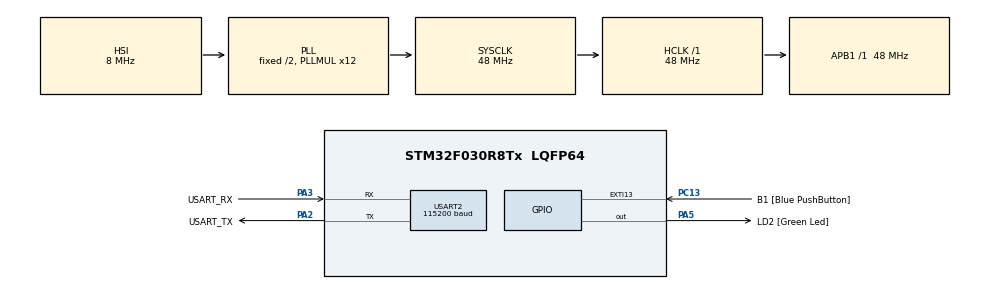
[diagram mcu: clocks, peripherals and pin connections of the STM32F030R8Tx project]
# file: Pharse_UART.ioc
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Mcu.Family=STM32F0
Mcu.Name=STM32F030R8Tx
Mcu.Package=LQFP64
NVIC.USART2_IRQn=true\:0\:0\:false\:false\:true\:true\:true\:true
PA13.GPIO_Label=TMS
PA13.Mode=Serial_Wire
PA13.Signal=SYS_SWDIO
PA14.GPIO_Label=TCK
PA14.Mode=Serial_Wire
PA14.Signal=SYS_SWCLK
PA2.GPIO_Label=USART_TX
PA2.GPIO_Mode=GPIO_MODE_AF_PP
PA2.GPIO_PuPd=GPIO_NOPULL
PA2.GPIO_Speed=GPIO_SPEED_FREQ_LOW
PA2.Mode=Asynchronous
PA2.Signal=USART2_TX
PA3.GPIO_Label=USART_RX
PA3.GPIO_Mode=GPIO_MODE_AF_PP
PA3.GPIO_PuPd=GPIO_NOPULL
PA3.GPIO_Speed=GPIO_SPEED_FREQ_LOW
PA3.Mode=Asynchronous
PA3.Signal=USART2_RX
PA5.GPIO_Label=LD2 [Green Led]
PA5.GPIO_Mode=GPIO_MODE_OUTPUT_PP
PA5.GPIO_PuPd=GPIO_NOPULL
PA5.GPIO_Speed=GPIO_SPEED_FREQ_LOW
PA5.Signal=GPIO_Output
PC13.GPIO_Label=B1 [Blue PushButton]
PC13.GPIO_ModeDefaultEXTI=GPIO_MODE_IT_FALLING
PC13.Signal=GPXTI13
PC14-OSC32_IN.Mode=LSE-External-Oscillator
PC14-OSC32_IN.Signal=RCC_OSC32_IN
PC15-OSC32_OUT.Mode=LSE-External-Oscillator
PC15-OSC32_OUT.Signal=RCC_OSC32_OUT
PF0-OSC_IN.Mode=HSE-External-Clock-Source
PF0-OSC_IN.Signal=RCC_OSC_IN
PF1-OSC_OUT.Signal=RCC_OSC_OUT
ProjectManager.HeapSize=0x200
ProjectManager.StackSize=0x400
ProjectManager.TargetToolchain=CMake
RCC.AHBFreq_Value=48000000
RCC.APB1Freq_Value=48000000
RCC.APB1TimFreq_Value=48000000
RCC.HCLKFreq_Value=48000000
RCC.PLLMUL=RCC_PLL_MUL12
RCC.RTCClockSelection=RCC_RTCCLKSOURCE_LSE
RCC.SYSCLKFreq_VALUE=48000000
RCC.SYSCLKSource=RCC_SYSCLKSOURCE_PLLCLK
RTC.Date=23
RTC.Hours=10
RTC.Minutes=35
RTC.Month=RTC_MONTH_FEBRUARY
USART2.BaudRate=115200
USART2.VirtualMode-Asynchronous=VM_ASYNC
VP_RTC_VS_RTC_Activate.Mode=RTC_Enabled
VP_RTC_VS_RTC_Calendar.Mode=RTC_Calendar
board=NUCLEO-F030R8

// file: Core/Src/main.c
/* USER CODE BEGIN Header */
/**
 ******************************************************************************
 * @file           : main.c
 * @brief          : Main program body
 ******************************************************************************
 * @attention
 *
 * Copyright (c) 2026 STMicroelectronics.
 * All rights reserved.
 *
 * This software is licensed under terms that can be found in the LICENSE file
 * in the root directory of this software component.
 * If no LICENSE file comes with this software, it is provided AS-IS.
 *
 ******************************************************************************
 */
/* USER CODE END Header */
#include "main.h"
#include "rtc.h"
#include "stm32f030x8.h"
#include "stm32f0xx_hal_rtc.h"
#include "usart.h"
#include "gpio.h"

/* USER CODE BEGIN Includes */
#include "ring_buffer.h"
#include "string.h"
#include "utilities.h"
#include <stdint.h>
#include <stdio.h>
/* USER CODE END Includes */

/* USER CODE BEGIN PV */
uint8_t test = 0;
RingBuffer_t MyBuffer;
uint8_t TmpData;
uint8_t ReceivedLines = 0;
uint8_t lastReceviedLine = 0;

/* USER CODE END PV */

void SystemClock_Config(void);

int main(void)
{

  /* MCU Configuration--------------------------------------------------------*/

  /* Reset of all peripherals, Initializes the Flash interface and the Systick. */
  HAL_Init();

  /* Configure the system clock */
  SystemClock_Config();

  /* Initialize all configured peripherals */
  MX_GPIO_Init();
  MX_USART2_UART_Init();
  MX_RTC_Init();
  /* USER CODE BEGIN 2 */

  HAL_UART_Receive_IT(&huart2, &TmpData, 1);
  /* USER CODE END 2 */

  /* Infinite loop */
  /* USER CODE BEGIN WHILE */
  while (1) {
    if (ReceivedLines != lastReceviedLine) {
      PARSER_PARSE(&MyBuffer);
      lastReceviedLine = ReceivedLines;
    }

    /* USER CODE END WHILE */

  }
}

void SystemClock_Config(void)
{
  RCC_OscInitTypeDef RCC_OscInitStruct = {0};
  RCC_ClkInitTypeDef RCC_ClkInitStruct = {0};
  RCC_PeriphCLKInitTypeDef PeriphClkInit = {0};

  /** Configure LSE Drive Capability
  */
  HAL_PWR_EnableBkUpAccess();
  __HAL_RCC_LSEDRIVE_CONFIG(RCC_LSEDRIVE_HIGH);

  /** Initializes the RCC Oscillators according to the specified parameters
  * in the RCC_OscInitTypeDef structure.
  */
  RCC_OscInitStruct.OscillatorType = RCC_OSCILLATORTYPE_HSI|RCC_OSCILLATORTYPE_LSE;
  RCC_OscInitStruct.LSEState = RCC_LSE_ON;
  RCC_OscInitStruct.HSIState = RCC_HSI_ON;
  RCC_OscInitStruct.HSICalibrationValue = RCC_HSICALIBRATION_DEFAULT;
  RCC_OscInitStruct.PLL.PLLState = RCC_PLL_ON;
  RCC_OscInitStruct.PLL.PLLSource = RCC_PLLSOURCE_HSI;
  RCC_OscInitStruct.PLL.PLLMUL = RCC_PLL_MUL12;
  RCC_OscInitStruct.PLL.PREDIV = RCC_PREDIV_DIV1;
  if (HAL_RCC_OscConfig(&RCC_OscInitStruct) != HAL_OK)
  {
    Error_Handler();
  }

  /** Initializes the CPU, AHB and APB buses clocks
  */
  RCC_ClkInitStruct.ClockType = RCC_CLOCKTYPE_HCLK|RCC_CLOCKTYPE_SYSCLK
                              |RCC_CLOCKTYPE_PCLK1;
  RCC_ClkInitStruct.SYSCLKSource = RCC_SYSCLKSOURCE_PLLCLK;
  RCC_ClkInitStruct.AHBCLKDivider = RCC_SYSCLK_DIV1;
  RCC_ClkInitStruct.APB1CLKDivider = RCC_HCLK_DIV1;

  if (HAL_RCC_ClockConfig(&RCC_ClkInitStruct, FLASH_LATENCY_1) != HAL_OK)
  {
    Error_Handler();
  }
  PeriphClkInit.PeriphClockSelection = RCC_PERIPHCLK_RTC;
  PeriphClkInit.RTCClockSelection = RCC_RTCCLKSOURCE_LSE;
  if (HAL_RCCEx_PeriphCLKConfig(&PeriphClkInit) != HAL_OK)
  {
    Error_Handler();
  }
}

/* USER CODE BEGIN 4 */
void HAL_UART_RxCpltCallback(UART_HandleTypeDef *huart) {
  if (huart->Instance == USART2) {

    RB_Write(&MyBuffer, TmpData);
    if (TmpData == '\n') {
      ReceivedLines++;
    }
    HAL_UART_Receive_IT(&huart2, &TmpData, 1);
  }
}
/* USER CODE END 4 */

void Error_Handler(void)
{
  __disable_irq();
  while (1) {
  }
}
#ifdef USE_FULL_ASSERT
/**
  * @brief  Reports the name of the source file and the source line number
  *         where the assert_param error has occurred.
  * @param  file: pointer to the source file name
  * @param  line: assert_param error line source number
  * @retval None
  */
void assert_failed(uint8_t *file, uint32_t line)
{
  /* USER CODE BEGIN 6 */
  /* User can add his own implementation to report the file name and line
     number, ex: printf("Wrong parameters value: file %s on line %d\r\n", file,
     line) */
  /* USER CODE END 6 */
}
#endif /* USE_FULL_ASSERT */
